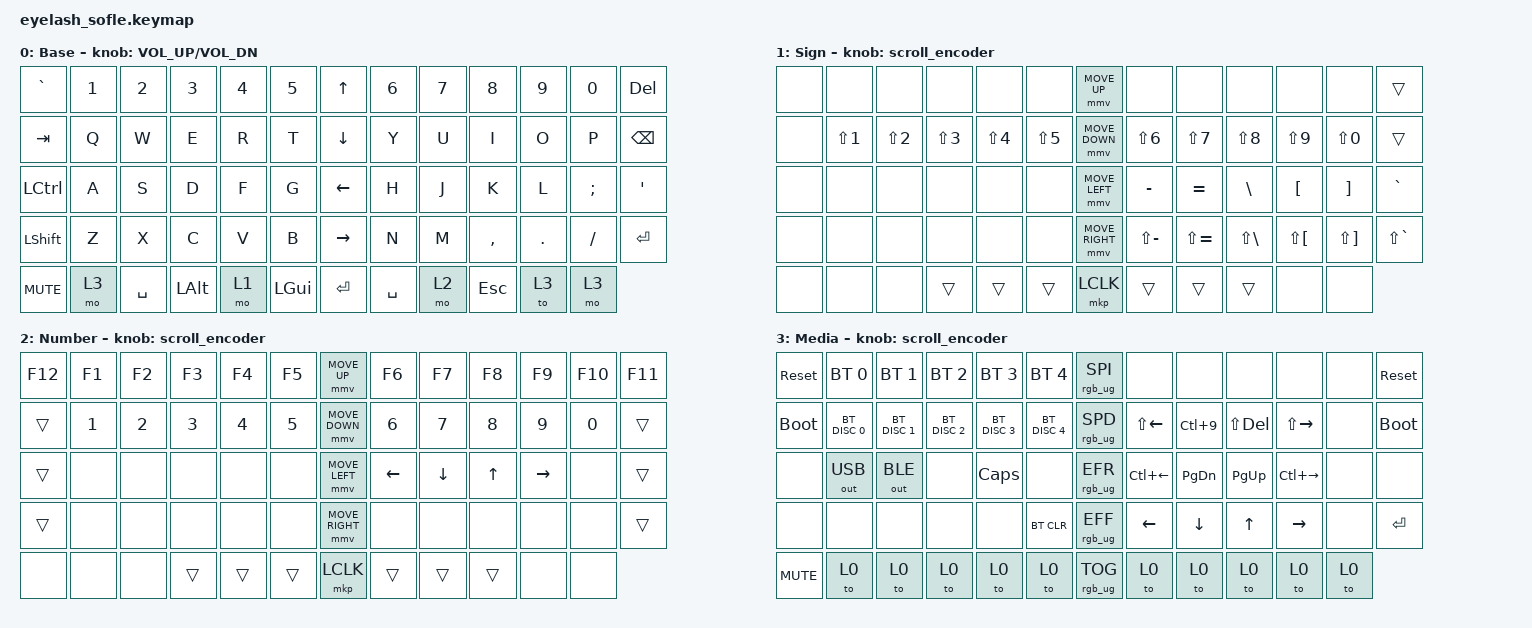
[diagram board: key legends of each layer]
#define ZMK_POINTING_DEFAULT_MOVE_VAL 1200  // 600
#define ZMK_POINTING_DEFAULT_SCRL_VAL 25   // 10

#include <input/processors.dtsi>
#include <zephyr/dt-bindings/input/input-event-codes.h>
#include <behaviors.dtsi>
#include <dt-bindings/zmk/bt.h>
#include <dt-bindings/zmk/keys.h>
#include <dt-bindings/zmk/outputs.h>
#include <dt-bindings/zmk/pointing.h>
#include <dt-bindings/zmk/rgb.h>

&mmv_input_listener { input-processors = <&zip_xy_scaler 2 1>; };

&msc_input_listener { input-processors = <&zip_scroll_scaler 2 1>; };

&msc {
    acceleration-exponent = <1>;      // 0
    time-to-max-speed-ms = <100>;       // 300
    delay-ms = <0>;                   // 0
};

&mmv {
    time-to-max-speed-ms = <500>;
    acceleration-exponent = <1>;
    trigger-period-ms = <16>;
};

&soft_off { hold-time-ms = <2000>; };

/ {
    scroll_encoder: scroll_encoder {
        compatible = "zmk,behavior-sensor-rotate";
        #sensor-binding-cells = <0>;
        bindings = <&msc SCRL_DOWN>, <&msc SCRL_UP>;

        tap-ms = <100>;
    };

    keymap {
        compatible = "zmk,keymap";

        base {
            bindings = <
&kp GRAVE   &kp N1  &kp N2     &kp N3        &kp N4  &kp N5          &kp UP_ARROW     &kp N6     &kp N7  &kp N8      &kp N9   &kp N0    &kp DEL
&kp TAB     &kp Q   &kp W      &kp E         &kp R   &kp T           &kp DOWN_ARROW   &kp Y      &kp U   &kp I       &kp O    &kp P     &kp BACKSPACE
&kp LCTRL   &kp A   &kp S      &kp D         &kp F   &kp G           &kp LEFT_ARROW   &kp H      &kp J   &kp K       &kp L    &kp SEMI  &kp APOS
&kp LSHFT   &kp Z   &kp X      &kp C         &kp V   &kp B           &kp RIGHT_ARROW  &kp N      &kp M   &kp COMMA   &kp DOT  &kp FSLH  &kp ENTER
&kp C_MUTE  &mo 3   &kp SPACE  &kp LEFT_ALT  &mo 1   &kp LEFT_GUI    &kp ENTER        &kp SPACE  &mo 2   &kp ESCAPE  &to 3    &mo 3
            >;

            sensor-bindings = <&inc_dec_kp C_VOLUME_UP C_VOL_DN>;
            display-name = "Base";
        };

        sign {
            bindings = <
&none  &none             &none             &none             &none             &none               &mmv MOVE_UP     &none             &none          &none              &none                 &none                  &trans
&none  &kp LS(NUMBER_1)  &kp LS(NUMBER_2)  &kp LS(NUMBER_3)  &kp LS(NUMBER_4)  &kp LS(NUMBER_5)    &mmv MOVE_DOWN   &kp LS(NUMBER_6)  &kp LS(N7)     &kp LS(NUMBER_8)   &kp LS(NUMBER_9)      &kp LS(NUMBER_0)       &trans
&none  &none             &none             &none             &none             &none               &mmv MOVE_LEFT   &kp MINUS         &kp EQUAL      &kp BACKSLASH      &kp LEFT_BRACKET      &kp RIGHT_BRACKET      &kp GRAVE
&none  &none             &none             &none             &none             &none               &mmv MOVE_RIGHT  &kp LS(MINUS)     &kp LS(EQUAL)  &kp LS(BACKSLASH)  &kp LS(LEFT_BRACKET)  &kp LS(RIGHT_BRACKET)  &kp LS(GRAVE)
&none  &none             &none             &trans            &trans            &trans              &mkp LCLK        &trans            &trans         &trans             &none                 &none
            >;

            display-name = "Sign";
            sensor-bindings = <&scroll_encoder>;
        };

        number {
            bindings = <
&kp F12  &kp F1        &kp F2        &kp F3        &kp F4        &kp F5    &mmv MOVE_UP     &kp F6          &kp F7          &kp F8        &kp F9           &kp F10       &kp F11
&trans   &kp NUMBER_1  &kp NUMBER_2  &kp NUMBER_3  &kp NUMBER_4  &kp N5    &mmv MOVE_DOWN   &kp NUMBER_6    &kp NUMBER_7    &kp NUMBER_8  &kp N9           &kp NUMBER_0  &trans
&trans   &none         &none         &none         &none         &none     &mmv MOVE_LEFT   &kp LEFT_ARROW  &kp DOWN_ARROW  &kp UP_ARROW  &kp RIGHT_ARROW  &none         &trans
&trans   &none         &none         &none         &none         &none     &mmv MOVE_RIGHT  &none           &none           &none         &none            &none         &trans
&none    &none         &none         &trans        &trans        &trans    &mkp LCLK        &trans          &trans          &trans        &none            &none
            >;

            display-name = "Number";
            sensor-bindings = <&scroll_encoder>;
        };

        media {
            bindings = <
&sys_reset   &bt BT_SEL 0   &bt BT_SEL 1   &bt BT_SEL 2   &bt BT_SEL 3   &bt BT_SEL 4     &rgb_ug RGB_SPI  &none               &none           &none         &none                &none  &sys_reset
&bootloader  &bt BT_DISC 0  &bt BT_DISC 1  &bt BT_DISC 2  &bt BT_DISC 3  &bt BT_DISC 4    &rgb_ug RGB_SPD  &kp LS(LEFT_ARROW)  &kp LC(N9)      &kp LS(DEL)   &kp LS(RIGHT_ARROW)  &none  &bootloader
&none        &out OUT_USB   &out OUT_BLE   &none          &kp CAPS       &none            &rgb_ug RGB_EFR  &kp LC(LEFT_ARROW)  &kp PAGE_DOWN   &kp PAGE_UP   &kp LC(RIGHT_ARROW)  &none  &none
&none        &none          &none          &none          &none          &bt BT_CLR       &rgb_ug RGB_EFF  &kp LEFT_ARROW      &kp DOWN_ARROW  &kp UP_ARROW  &kp RIGHT_ARROW      &none  &kp ENTER
&kp C_MUTE   &to 0          &to 0          &to 0          &to 0          &to 0            &rgb_ug RGB_TOG  &to 0               &to 0           &to 0         &to 0                &to 0
            >;

            display-name = "Media";
            sensor-bindings = <&scroll_encoder>;
        };
    };
};
